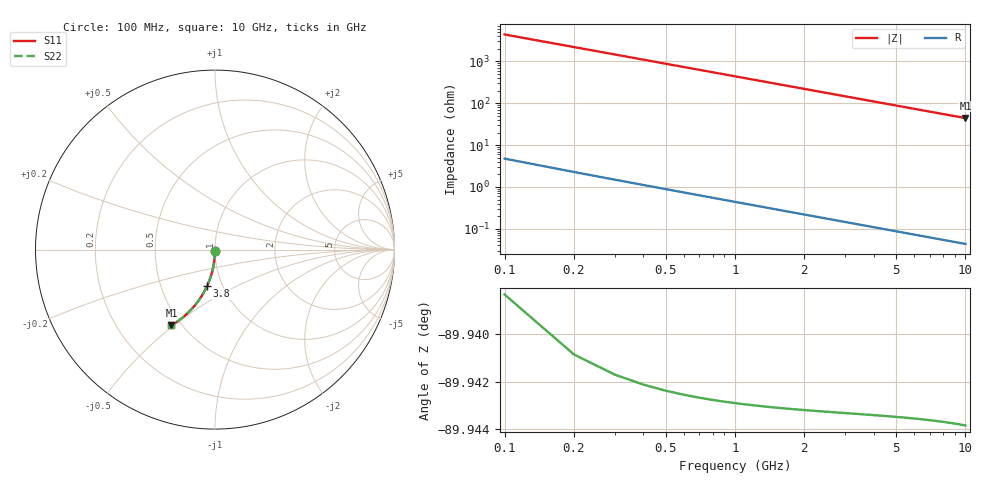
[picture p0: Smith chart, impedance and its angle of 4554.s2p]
# Hz S RI R 50.00
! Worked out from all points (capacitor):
!   100 points, 100 MHz to 10 GHz, reference 50 ohm
!   read as one part in shunt: C = 361 fF near 100 MHz
!   lowest |Z| = 44.3 ohm at 10 GHz (marker M1)
!   S11 on the Smith chart (normalised r, x): 100 MHz: 1.00, -0.01; 3.8 GHz: 0.85, -0.36; 10 GHz: 0.44, -0.49
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1e8  -1.74e-05 -0.0056  0.9999 -0.00573  0.9999 -0.00573  -1.74e-05 -0.0056
2e8  -0.000119 -0.0112  0.9998 -0.0115  0.9998 -0.0115  -0.000119 -0.0112
3e8  -0.000285 -0.0168  0.9997 -0.0172  0.9997 -0.0172  -0.000285 -0.0168
4e8  -0.000515 -0.0224  0.9994 -0.0229  0.9994 -0.0229  -0.000515 -0.0224
5e8  -0.000809 -0.028  0.9991 -0.0286  0.9991 -0.0286  -0.000809 -0.028
6e8  -0.00117 -0.0336  0.9988 -0.0343  0.9988 -0.0343  -0.00117 -0.0336
7e8  -0.00159 -0.0391  0.9984 -0.04  0.9984 -0.04  -0.00159 -0.0391
8e8  -0.00207 -0.0447  0.9979 -0.0457  0.9979 -0.0457  -0.00207 -0.0447
9e8  -0.00262 -0.0503  0.9973 -0.0514  0.9973 -0.0514  -0.00262 -0.0503
1.1e9  -0.00391 -0.0613  0.996 -0.0628  0.996 -0.0628  -0.00391 -0.0613
1.4e9  -0.0063 -0.0779  0.9937 -0.0797  0.9937 -0.0797  -0.0063 -0.0779
1.8e9  -0.0104 -0.0997  0.9896 -0.1021  0.9896 -0.1021  -0.0104 -0.0997
2.1e9  -0.014 -0.1159  0.9859 -0.1186  0.9859 -0.1186  -0.014 -0.1159
2.5e9  -0.0198 -0.1371  0.9802 -0.1404  0.9802 -0.1404  -0.0198 -0.1371
2.9e9  -0.0264 -0.158  0.9735 -0.1618  0.9735 -0.1618  -0.0264 -0.158
3.4e9  -0.0359 -0.1834  0.964 -0.1879  0.964 -0.1879  -0.0359 -0.1834
3.8e9  -0.0444 -0.2031  0.9555 -0.2081  0.9555 -0.2081  -0.0444 -0.2031
4.4e9  -0.0587 -0.2316  0.9413 -0.2374  0.9413 -0.2374  -0.0587 -0.2316
5.1e9  -0.0772 -0.2631  0.9227 -0.2698  0.9227 -0.2698  -0.0772 -0.2631
6.7e9  -0.1261 -0.3271  0.8738 -0.3359  0.8738 -0.3359  -0.1261 -0.3271
8.4e9  -0.1848 -0.3821  0.8151 -0.3933  0.8151 -0.3933  -0.1848 -0.3821
1e10  -0.243 -0.4218  0.7568 -0.4352  0.7568 -0.4352  -0.243 -0.4218
